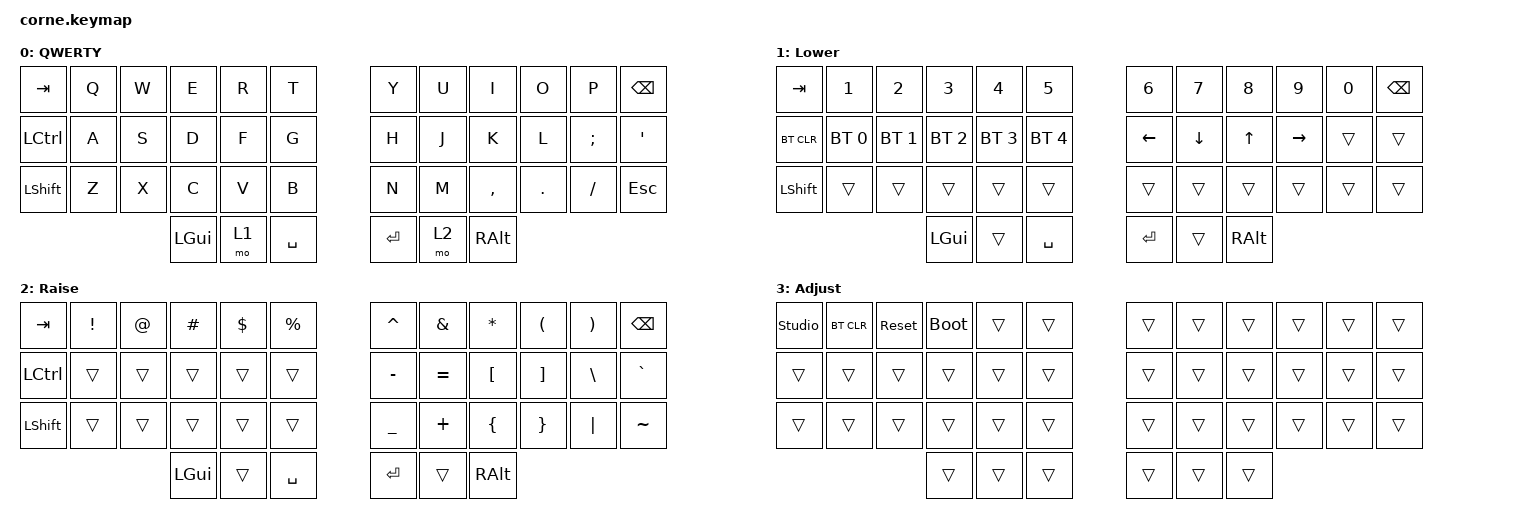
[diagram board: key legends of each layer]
/*
 * Fluxpoint baseline keymap.
 *
 * This is the stock Corne 3x6+3 layout plus lower/raise/adjust layers.
 * It exists to validate the matrix, OLED, and ZMK Studio during Phase 0/1.
 * The final Fluxpoint keymap will be tuned after the custom shield exists.
 *
 * SPDX-License-Identifier: MIT
 */

#include <behaviors.dtsi>
#include <dt-bindings/zmk/keys.h>
#include <dt-bindings/zmk/bt.h>

/ {
    keymap {
        compatible = "zmk,keymap";

        default_layer {
            display-name = "QWERTY";
            bindings = <
                &kp TAB   &kp Q &kp W &kp E &kp R &kp T   &kp Y &kp U  &kp I     &kp O   &kp P    &kp BSPC
                &kp LCTRL &kp A &kp S &kp D &kp F &kp G   &kp H &kp J  &kp K     &kp L   &kp SEMI &kp SQT
                &kp LSHFT &kp Z &kp X &kp C &kp V &kp B   &kp N &kp M  &kp COMMA &kp DOT &kp FSLH &kp ESC
                                  &kp LGUI &mo 1 &kp SPACE   &kp RET &mo 2 &kp RALT
            >;
        };

        lower_layer {
            display-name = "Lower";
            bindings = <
                &kp TAB    &kp N1       &kp N2       &kp N3       &kp N4       &kp N5         &kp N6   &kp N7   &kp N8 &kp N9    &kp N0 &kp BSPC
                &bt BT_CLR &bt BT_SEL 0 &bt BT_SEL 1 &bt BT_SEL 2 &bt BT_SEL 3 &bt BT_SEL 4   &kp LEFT &kp DOWN &kp UP &kp RIGHT &trans &trans
                &kp LSHFT  &trans       &trans       &trans       &trans       &trans         &trans   &trans   &trans &trans    &trans &trans
                                             &kp LGUI     &trans       &kp SPACE      &kp RET  &trans   &kp RALT
            >;
        };

        raise_layer {
            display-name = "Raise";
            bindings = <
                &kp TAB   &kp EXCL &kp AT &kp HASH &kp DLLR &kp PRCNT   &kp CARET &kp AMPS  &kp ASTRK &kp LPAR &kp RPAR &kp BSPC
                &kp LCTRL &trans   &trans &trans   &trans   &trans      &kp MINUS &kp EQUAL &kp LBKT  &kp RBKT &kp BSLH &kp GRAVE
                &kp LSHFT &trans   &trans &trans   &trans   &trans      &kp UNDER &kp PLUS  &kp LBRC  &kp RBRC &kp PIPE &kp TILDE
                                             &kp LGUI &trans   &kp SPACE   &kp RET   &trans    &kp RALT
            >;
        };

        adjust_layer {
            display-name = "Adjust";
            bindings = <
                &studio_unlock &bt BT_CLR &sys_reset &bootloader &trans &trans   &trans &trans &trans &trans &trans &trans
                &trans         &trans     &trans     &trans      &trans &trans   &trans &trans &trans &trans &trans &trans
                &trans         &trans     &trans     &trans      &trans &trans   &trans &trans &trans &trans &trans &trans
                                             &trans &trans &trans   &trans &trans &trans
            >;
        };
    };

    combos {
        compatible = "zmk,combos";

        combo_adjust {
            timeout-ms = <50>;
            key-positions = <36 41>;
            bindings = <&mo 3>;
        };
    };
};
